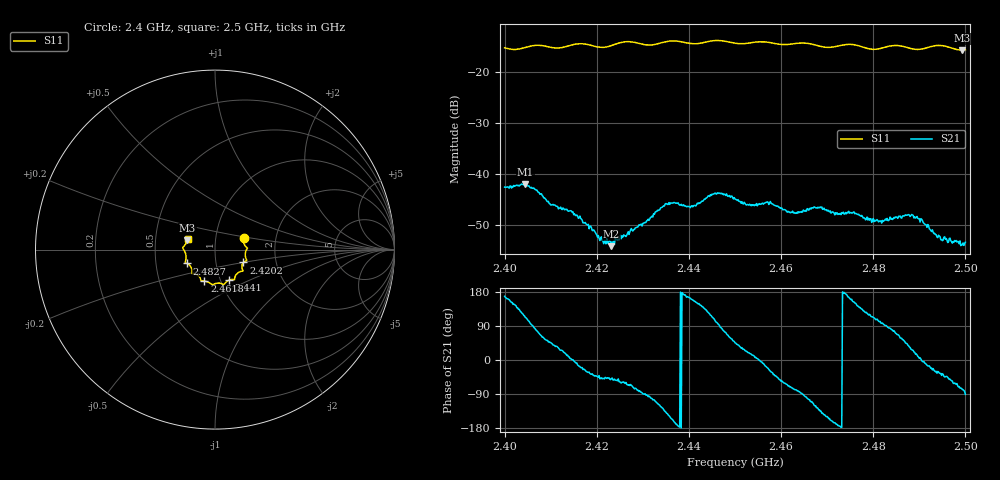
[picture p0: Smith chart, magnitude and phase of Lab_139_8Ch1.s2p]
# Hz S RI R 50
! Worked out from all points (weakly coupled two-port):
!   601 points, 2.4 GHz to 2.5 GHz, reference 50 ohm
!   highest |S21| = -41.95 dB at 2.4045 GHz (marker M1); lowest = -54.1 dB at 2.4232 GHz (marker M2)
!   lowest |S11| = -15.8 dB at 2.4993 GHz (marker M3), VSWR 1.39, Z = 36.5 + j3.8 ohm
!   |S11| at or under -10 dB: start of sweep to end of sweep
!   S12 and S22 are empty: the file has one direction only
!   S11 on the Smith chart (normalised r, x): 2.4 GHz: 1.36, +0.18; 2.4202 GHz: 1.36, -0.20; 2.441 GHz: 1.10, -0.39; 2.4618 GHz: 0.84, -0.30; 2.4827 GHz: 0.72, -0.11; 2.5 GHz: 0.73, +0.09
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2.4e9  0.159 0.0629  -0.00728 0.00154  0 0  0 0
2.4045e9  0.1717 0.0164  -0.00303 0.00739  0 0  0 0
2.409833e9  0.1735 -0.00489  0.00352 0.0037  0 0  0 0
2.416667e9  0.1772 -0.0609  0.00341 -0.00125  0 0  0 0
2.420167e9  0.1587 -0.0713  0.00173 -0.00168  0 0  0 0
2.423167e9  0.15 -0.0992  0.00128 -0.0015  0 0  0 0
2.430333e9  0.1335 -0.1262  1.31e-05 -0.00335  0 0  0 0
2.433333e9  0.1116 -0.1507  -0.00196 -0.00393  0 0  0 0
2.4365e9  0.1086 -0.1677  -0.00481 -0.00194  0 0  0 0
2.441e9  0.0788 -0.17  -0.00451 0.00189  0 0  0 0
2.446e9  0.0498 -0.1953  -0.00103 0.00628  0 0  0 0
2.45e9  0.0284 -0.1875  0.004 0.00408  0 0  0 0
2.453e9  -0.000633 -0.1901  0.00468 0.00165  0 0  0 0
2.457333e9  -0.0213 -0.192  0.00457 -0.00211  0 0  0 0
2.461833e9  -0.0592 -0.1755  0.00141 -0.00402  0 0  0 0
2.466667e9  -0.0788 -0.1683  -0.00157 -0.0044  0 0  0 0
2.482667e9  -0.156 -0.077  -7.5e-05 0.00363  0 0  0 0
2.483333e9  -0.1603 -0.0749  0.000323 0.0035  0 0  0 0
2.488167e9  -0.1611 -0.0479  0.00343 0.00189  0 0  0 0
2.4945e9  -0.1799 0.0111  0.00199 -0.00142  0 0  0 0
2.499333e9  -0.1541 0.0507  0.000424 -0.00198  0 0  0 0
2.5e9  -0.1522 0.0605  -2.42e-05 -0.00216  0 0  0 0
